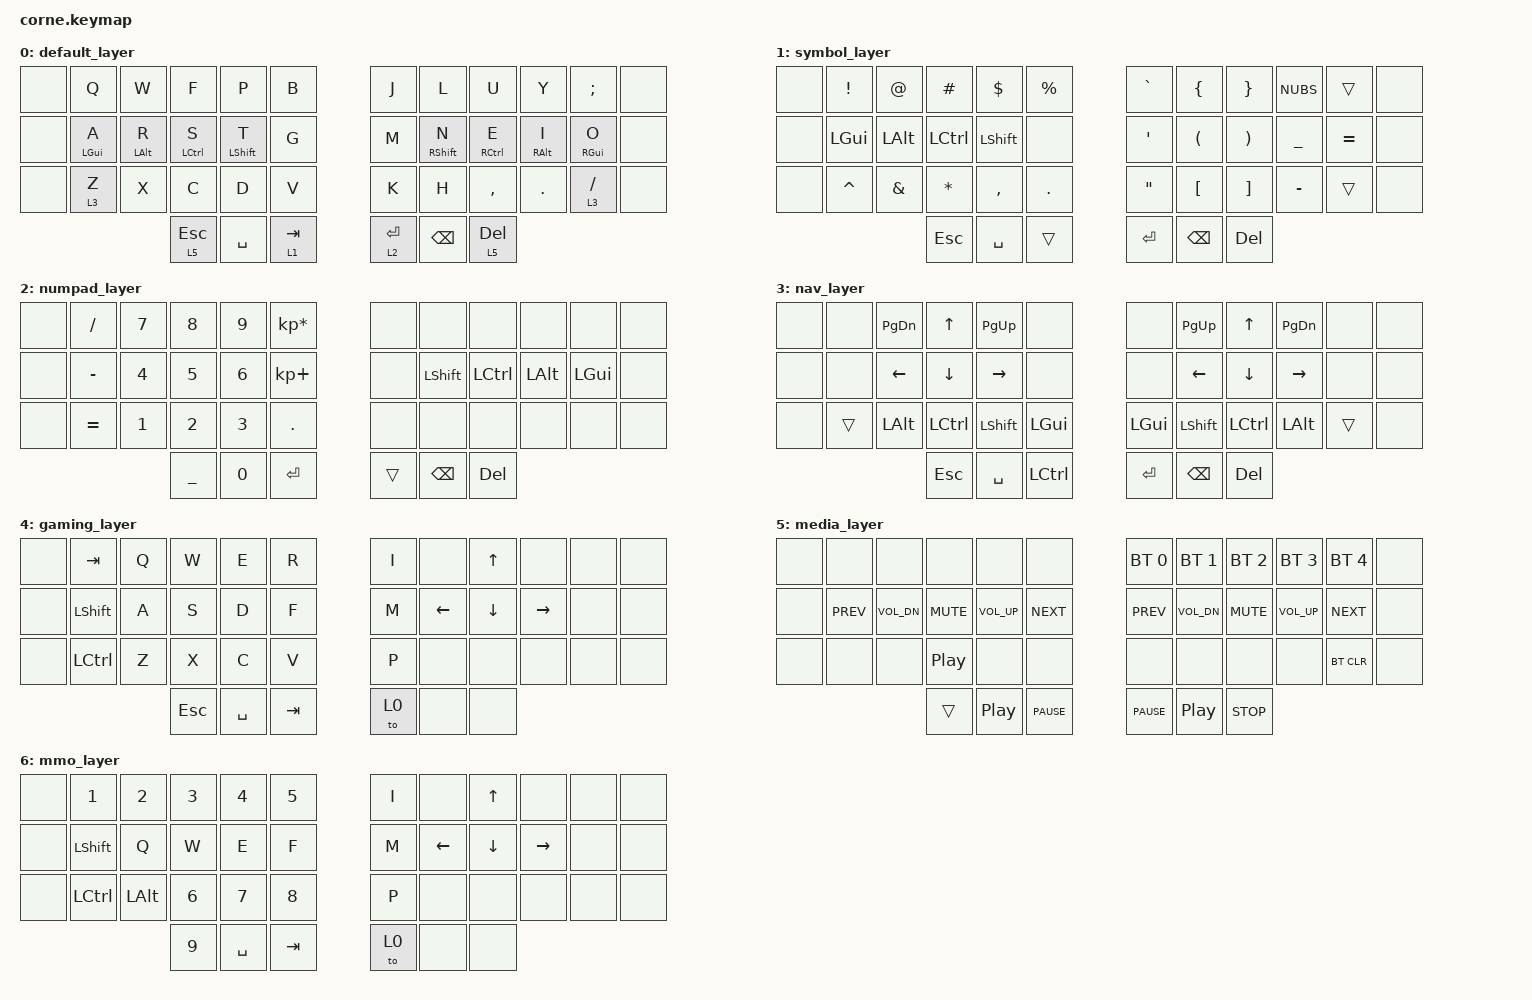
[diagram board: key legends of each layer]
/*
 * Copyright (c) 2020 The ZMK Contributors
 *
 * SPDX-License-Identifier: MIT
 */

#include <behaviors.dtsi>
#include <dt-bindings/zmk/keys.h>
#include <dt-bindings/zmk/bt.h>

#include "../zmk-nodefree-config/helper.h"


#define DEFAULT 0
#define SYMBOL  1
#define NUMPAD  2
#define NAV     3
#define GAMING  4
#define MEDIA   5
#define MMO     6

/* use helper macros to define left and right hand keys */
#include "../zmk-nodefree-config/keypos_def/keypos_36keys.h"                // keyposition helpers
#define KEYS_L LT0 LT1 LT2 LT3 LT4 LM0 LM1 LM2 LM3 LM4 LB0 LB1 LB2 LB3 LB4  // left-hand keys
#define KEYS_R RT0 RT1 RT2 RT3 RT4 RM0 RM1 RM2 RM3 RM4 RB0 RB1 RB2 RB3 RB4  // right-hand keys
#define THUMBS LH2 LH1 LH0 RH0 RH1 RH2                                      // thumb keys

/* left-hand HRMs */
ZMK_BEHAVIOR(hml, hold_tap,
    flavor = "balanced";
    tapping-term-ms = <280>;
    quick-tap-ms = <175>;                // repeat on tap-into-hold
    global-quick-tap-ms = <150>;         // requires PR #1387
    bindings = <&kp>, <&kp>;
    hold-trigger-key-positions = <KEYS_R THUMBS>;
    hold-trigger-on-release;             // requires PR #1423
)

/* right-hand HRMs */
ZMK_BEHAVIOR(hmr, hold_tap,
    flavor = "balanced";
    tapping-term-ms = <280>;
    quick-tap-ms = <175>;                // repeat on tap-into-hold
    global-quick-tap-ms = <150>;         // requires PR #1387
    bindings = <&kp>, <&kp>;
    hold-trigger-key-positions = <KEYS_L THUMBS>;
    hold-trigger-on-release;             // requires PR #1423
)

// 0  1  2  3  4  5    6  7  8  9  10 11
// 13 14 15 16 17 18   19 20 21 22 23 24
// 26 27 28 29 30 31   32 33 34 34 36 37
//          39 40 41   42 43 44

#undef COMBO_TERM
#define COMBO_TERM 50
ZMK_COMBO(copy,  &kp LC(C), 13 14, ALL)
ZMK_COMBO(paste, &kp LC(V), 14 15, ALL)

// Q and A combo to hit ESC
/ {
    combos {
        compatible = "zmk,combos";
        combo_esc {
            timeout-ms = <50>;
            key-positions = <1 13>;
            bindings = <&kp ESC>;
        };
    };
};

/ {
    combos {
        compatible = "zmk,combos";
        combo_mmo {
            timeout-ms = <50>;
            key-positions = <4 5>;
            bindings = <&to 6>;
        };
    };
};

/ {
    combos {
        compatible = "zmk,combos";
        combo_base {
            timeout-ms = <50>;
            key-positions = <16 17>;
            bindings = <&to 0>;
        };
    };
};

// How long you have to press and release to use the key and not the modifier.
&mt {
    tapping-term-ms = <200>;
};

&lt {
    tapping-term-ms = <200>;
};

/ {
        keymap {
                compatible = "zmk,keymap";

                default_layer {
// -----------------------------------------------------------------------------------------
// |       |   Q   |   W   |   F   |  P   |  B  |                                      |  J  |  L   |   U  |  Y  |  ;  |      |
// |       |   A   |   R   |   S   |  T   | G*L3|                                      |  M  |  N   |   E  |  I  |  O  |      |
// |       | Z*CTRL| X*ALT | C*CTRL|D*SHFT|  V  |                                      |  K  |H*SHFT|,*CTRL|.*ALT|  /  |      |
//                                 |ESC*L2| SPC |TAB*L1|                        |ENT*L3| BSPC|DEL*L5|
                        bindings = <
   &none   &kp Q        &kp W        &kp F         &kp P         &kp B              &kp J      &kp L         &kp U         &kp Y        &kp SEMI     &none
   &none   &hml LGUI A &hml LALT R &hml LCTRL S &hml LSHFT T &kp G              &kp M      &hml RSHFT N &hml RCTRL E &hml RALT I &hml RGUI O &none
   &none   &lt 3 Z      &kp X        &kp C         &kp D         &kp V              &kp K      &kp H         &kp COMMA     &kp DOT      &lt 3 FSLH   &none
                                     &lt 5 ESC     &kp SPACE     &lt 1 TAB          &lt 2 RET &kp BSPC &lt 5 DEL
                        >;
                };
                
                symbol_layer {
// -----------------------------------------------------------------------------------------
// |       |  !  |  @  |  #  |  $  |  %  |                                           | /?  |  {  |  }  |  \  |     |      |
// |       |  ^  |  &  |  *  | ,<  | .>  |                                           | '"  |  (  |  )  |  _  |  =  |      |
// |       |  `  | ALT | CTRL| SHFT|     |                                           |  "  |  [  |  ]  |  -  |     |      |
//                           | ESC |SPACE|TRANS|                               | ENT |BSPC | DEL |
                        bindings = <
   &none  &kp EXCL  &kp AT   &kp HASH  &kp DLLR  &kp PRCNT                       &kp GRAVE &kp LBRC &kp RBRC &kp NUBS  &trans    &none
   &none  &kp LGUI  &kp LALT &kp LCTRL &kp LSHFT &none                           &kp APOS  &kp LPAR &kp RPAR &kp UNDER &kp EQUAL &none
   &none  &kp CARET &kp AMPS &kp STAR  &kp COMMA &kp DOT                         &kp DQT   &kp LBKT &kp RBKT &kp MINUS &trans    &none
                                       &kp ESC   &kp SPACE &trans      &kp RET   &kp BSPC &kp DEL
                        >;
                };

                numpad_layer {
// -----------------------------------------------------------------------------------------
// |      |numlck|     |     |     |     |                                              |  /  |  #7 |  #8 |  #9 |  *  |      |
// |      |      |     |     |     |     |                                              |  -  |  #4 |  #5 |  #6 |  +  |      |
// |      |      | ALT |CTRL |SHFT | L4  |                                              |  =  |  #1 |  #2 |  #3 |  .  |      |
//                           |TRANS|SPACE|  =  |                                  | ENT |BSPC |  #0 |
                        bindings = <
   &none &kp SLASH &kp N7 &kp N8 &kp N9    &kp KP_MULTIPLY                     &none    &none     &none     &none    &none    &none
   &none &kp MINUS &kp N4 &kp N5 &kp N6    &kp KP_PLUS                         &none    &kp LSHFT &kp LCTRL &kp LALT &kp LGUI &none
   &none &kp EQUAL &kp N1 &kp N2 &kp N3    &kp DOT                             &none    &none     &none     &none    &none    &none
                                 &kp UNDER &kp N0     &kp RET           &trans &kp BSPC &kp DEL
                        >;
                };
                
                nav_layer {
// -----------------------------------------------------------------------------------------
// |      | CTRL|     |  UP  |     |  Y  |                           |  Y  |     |  UP |     | CTRL|     |
// |      | SHFT| LEFT| DOWN |RIGHT|TRANS|                           |     |LEFT |DOWN |RIGHT| SHFT|     |
// |      |  Z  |  X  |   C  |  Y  |  V  |                           |  V  |  Y  |  C  |  X  |  Z  |     |
//                           | ESC |SPACE| CTRL|               |TRANS| BSPC| ENT |
                        bindings = <
   &none &none  &kp PG_DN &kp UP    &kp PG_UP &none                                  &none    &kp PG_UP &kp UP    &kp PG_DN &none  &none
   &none &none  &kp LEFT  &kp DOWN  &kp RIGHT &none                                  &none    &kp LEFT  &kp DOWN  &kp RIGHT &none  &none
   &none &trans &kp LALT  &kp LCTRL &kp LSHFT &kp LGUI                               &kp LGUI &kp LSHFT &kp LCTRL &kp LALT  &trans &none
                                    &kp ESC   &kp SPACE &kp LCTRL            &kp RET &kp BSPC &kp DEL
                        >;
                };
                
                gaming_layer {
// -----------------------------------------------------------------------------------------
// |      | Tab  |  Q  |  W  |  E  |  R  |                          |  I  |      | UP  |     |     |      |
// |      | SHFT |  A  |  S  |  D  |  F  |                          |  M  | LEFT |DOWN |RIGHT|     |      |
// |      | CTRL |  Z  |  X  |  C  |  V  |                          |  P  |      |     |     |     |      |
//                           | ESC | SPC | TAB |              | L0  |     |      |
                        bindings = <
   &none &kp TAB   &kp Q &kp W &kp E   &kp R                          &kp I &none    &kp UP   &none     &none &none
   &none &kp LSHFT &kp A &kp S &kp D   &kp F                          &kp M &kp LEFT &kp DOWN &kp RIGHT &none &none
   &none &kp LCTRL &kp Z &kp X &kp C   &kp V                          &kp P &none    &none    &none     &none &none
                               &kp ESC &kp SPACE &kp TAB        &to 0 &none &none
                        >;
                };
                
                media_layer {
// -----------------------------------------------------------------------------------------
// |      |     |     |     |     |     |                                          |     |     |     |     |BTCLR|      |
// |      | MUTE|     |VOLDN|VOLUP|     |                                          | BT0 | BT1 | BT2 | BT3 | BT4 |      |
// |      |     |     |     |     |     |                                          |     |     |     |     |     |      |
//                          |STOP | P/P |SKIP|                               |     |     |TRANS|
                        bindings = <
   &none &none      &none        &none      &none        &none                               &bt BT_SEL 0 &bt BT_SEL 1 &bt BT_SEL 2 &bt BT_SEL 3 &bt BT_SEL 4 &none
   &none &kp K_PREV &kp C_VOL_DN &kp C_MUTE &kp C_VOL_UP &kp K_NEXT                          &kp K_PREV   &kp C_VOL_DN &kp C_MUTE   &kp C_VOL_UP &kp K_NEXT   &none
   &none &none      &none        &kp C_PP   &none        &none                               &none        &none        &none        &none        &bt BT_CLR   &none
                                            &trans       &kp C_PP &kp C_PAUSE    &kp C_PAUSE &kp C_PP     &kp C_STOP
                        >;
                };
                
                 mmo_layer {
// -----------------------------------------------------------------------------------------
// |      | Tab  |  Q  |  W  |  E  |  R  |                          |  I  |      | UP  |     |     |      |
// |      | SHFT |  A  |  S  |  D  |  F  |                          |  M  | LEFT |DOWN |RIGHT|     |      |
// |      | CTRL |  Z  |  X  |  C  |  V  |                          |  P  |      |     |     |     |      |
//                           | ESC | SPC | TAB |              | L0  |     |      |
                        bindings = <
   &none &kp N1    &kp N2   &kp N3 &kp N4 &kp N5                          &kp I &none    &kp UP   &none     &none &none
   &none &kp LSHFT &kp Q    &kp W  &kp E  &kp F                          &kp M &kp LEFT &kp DOWN &kp RIGHT &none &none
   &none &kp LCTRL &kp LALT &kp N6 &kp N7 &kp N8                          &kp P &none    &none    &none     &none &none
                               &kp N9 &kp SPACE &kp TAB        &to 0 &none &none
                        >;
                };
                
        };
};

